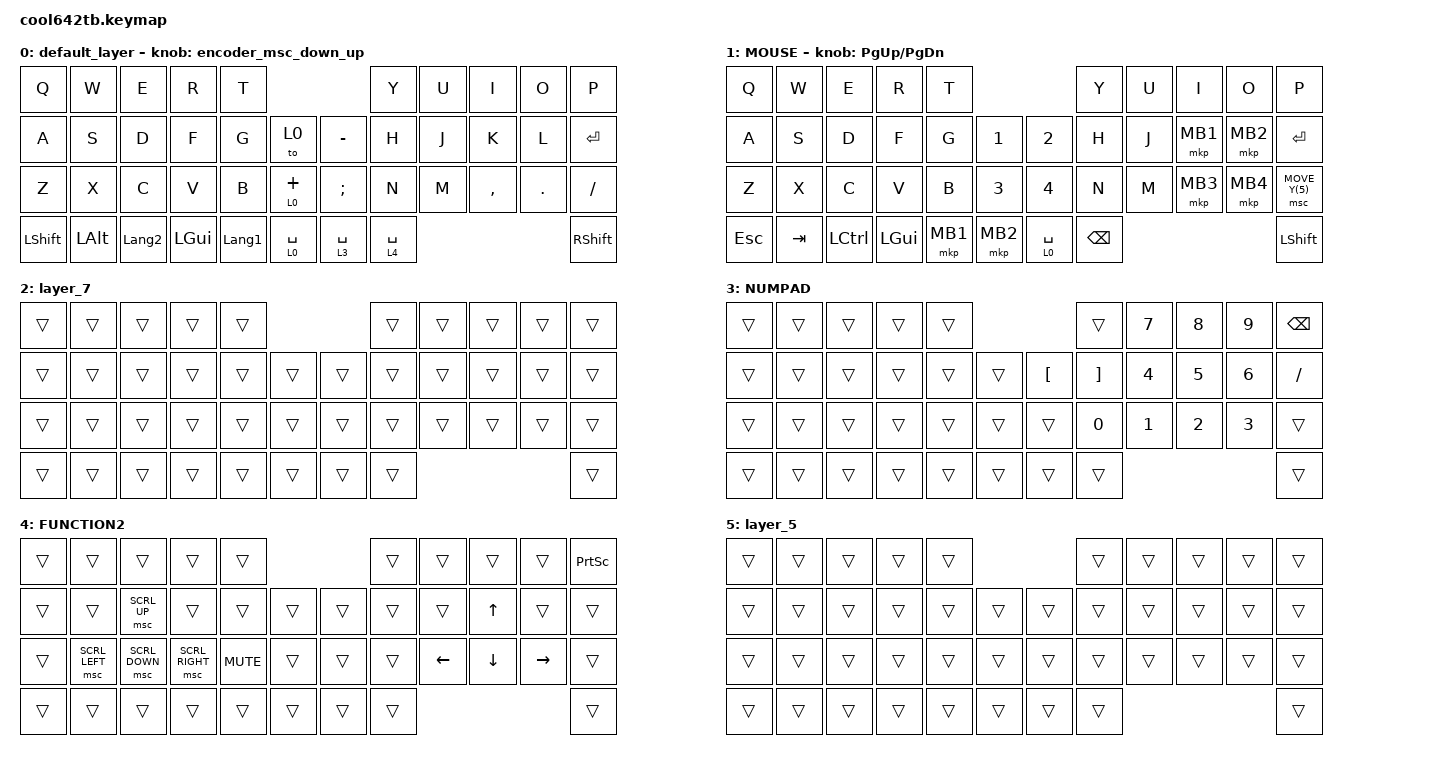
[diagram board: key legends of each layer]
#include <behaviors.dtsi>
#include <dt-bindings/zmk/bt.h>
#include <dt-bindings/zmk/keys.h>
#include <dt-bindings/zmk/pointing.h>

#define MOUSE 4
#define SCROLL 5
#define NUM 6
#define ZMK_POINTING_DEFAULT_SCRL_VAL 80

&mt {
    flavor = "balanced";
    quick-tap-ms = <0>;
};

/ {
    combos {
        compatible = "zmk,combos";

        comb1 {
            bindings = <&kp TAB>;
            key-positions = <11 10>;
        };

        comb2 {
            bindings = <&kp LS(ESCAPE)>;
            key-positions = <0 1>;
        };

        comb3 {
            bindings = <&kp CAPSLOCK>;
            key-positions = <22 23>;
        };

        comb4 {
            bindings = <&kp BACKSPACE>;
            key-positions = <9 8>;
        };

        comb5 {
            bindings = <&bt BT_CLR_ALL>;
            key-positions = <9 8>;
            timeout-ms = <0>;
        };
    };

    macros {
        to_layer_0: to_layer_0 {
            compatible = "zmk,behavior-macro-one-param";
            #binding-cells = <1>;
            bindings = <&to 0 &macro_param_1to1 &kp MACRO_PLACEHOLDER>;
            label = "TO_LAYER_0";
        };
    };

    behaviors {
        lt_to_layer_0: lt_to_layer_0 {
            compatible = "zmk,behavior-hold-tap";
            label = "LAYER_TAP_TO_0";
            bindings = <&mo>, <&to_layer_0>;

            #binding-cells = <2>;
            tapping-term-ms = <200>;
        };

        encoder_msc_down_up: encoder_msc_down_up {
            compatible = "zmk,behavior-sensor-rotate";
            label = "ENCODER_MSC_DOWN_UP";
            #sensor-binding-cells = <0>;
            bindings = <&msc SCRL_DOWN>, <&msc SCRL_UP>;

            tap-ms = <20>;
        };
    };

    keymap {
        compatible = "zmk,keymap";

        default_layer {
            bindings = <
&kp Q           &kp W         &kp E           &kp R         &kp T                                       &kp Y        &kp U  &kp I      &kp O    &kp P
&kp A           &kp S         &kp D           &kp F         &kp G           &to 0        &kp MINUS      &kp H        &kp J  &kp K      &kp L    &kp ENTER
&kp Z           &kp X         &kp C           &kp V         &kp B           &lt 0 PLUS   &kp SEMICOLON  &kp N        &kp M  &kp COMMA  &kp DOT  &kp SLASH
&kp LEFT_SHIFT  &kp LEFT_ALT  &kp LANGUAGE_2  &kp LEFT_GUI  &kp LANGUAGE_1  &lt 0 SPACE  &lt 3 SPACE    &lt 4 SPACE                             &kp RIGHT_SHIFT
            >;

            sensor-bindings = <&encoder_msc_down_up>;
        };

        MOUSE {
            bindings = <
&kp Q       &kp W    &kp E             &kp R         &kp T                            &kp Y          &kp U  &kp I     &kp O     &kp P
&kp A       &kp S    &kp D             &kp F         &kp G     &kp N1    &kp N2       &kp H          &kp J  &mkp MB1  &mkp MB2  &kp ENTER
&kp Z       &kp X    &kp C             &kp V         &kp B     &kp N3    &kp N4       &kp N          &kp M  &mkp MB3  &mkp MB4  &msc MOVE_Y(5)
&kp ESCAPE  &kp TAB  &kp LEFT_CONTROL  &kp LEFT_GUI  &mkp MB1  &mkp MB2  &lt 0 SPACE  &kp BACKSPACE                             &kp LEFT_SHIFT
            >;

            sensor-bindings = <&inc_dec_kp PG_UP PAGE_DOWN>;
        };

        layer_7 {
            bindings = <
&trans  &trans  &trans  &trans  &trans                  &trans  &trans  &trans  &trans  &trans
&trans  &trans  &trans  &trans  &trans  &trans  &trans  &trans  &trans  &trans  &trans  &trans
&trans  &trans  &trans  &trans  &trans  &trans  &trans  &trans  &trans  &trans  &trans  &trans
&trans  &trans  &trans  &trans  &trans  &trans  &trans  &trans                          &trans
            >;
        };

        NUMPAD {
            bindings = <
&trans  &trans  &trans  &trans  &trans                            &trans             &kp NUMBER_7  &kp NUMBER_8  &kp NUMBER_9  &kp BACKSPACE
&trans  &trans  &trans  &trans  &trans  &trans  &kp LEFT_BRACKET  &kp RIGHT_BRACKET  &kp NUMBER_4  &kp NUMBER_5  &kp NUMBER_6  &kp SLASH
&trans  &trans  &trans  &trans  &trans  &trans  &trans            &kp NUMBER_0       &kp NUMBER_1  &kp NUMBER_2  &kp NUMBER_3  &trans
&trans  &trans  &trans  &trans  &trans  &trans  &trans            &trans                                                       &trans
            >;
        };

        FUNCTION2 {
            bindings = <
&trans  &trans          &trans          &trans           &trans                      &trans  &trans          &trans          &trans           &kp PRINTSCREEN
&trans  &trans          &msc SCRL_UP    &trans           &trans      &trans  &trans  &trans  &trans          &kp UP_ARROW    &trans           &trans
&trans  &msc SCRL_LEFT  &msc SCRL_DOWN  &msc SCRL_RIGHT  &kp K_MUTE  &trans  &trans  &trans  &kp LEFT_ARROW  &kp DOWN_ARROW  &kp RIGHT_ARROW  &trans
&trans  &trans          &trans          &trans           &trans      &trans  &trans  &trans                                                   &trans
            >;
        };

        layer_5 {
            bindings = <
&trans  &trans  &trans  &trans  &trans                  &trans  &trans  &trans  &trans  &trans
&trans  &trans  &trans  &trans  &trans  &trans  &trans  &trans  &trans  &trans  &trans  &trans
&trans  &trans  &trans  &trans  &trans  &trans  &trans  &trans  &trans  &trans  &trans  &trans
&trans  &trans  &trans  &trans  &trans  &trans  &trans  &trans                          &trans
            >;
        };
    };
};
